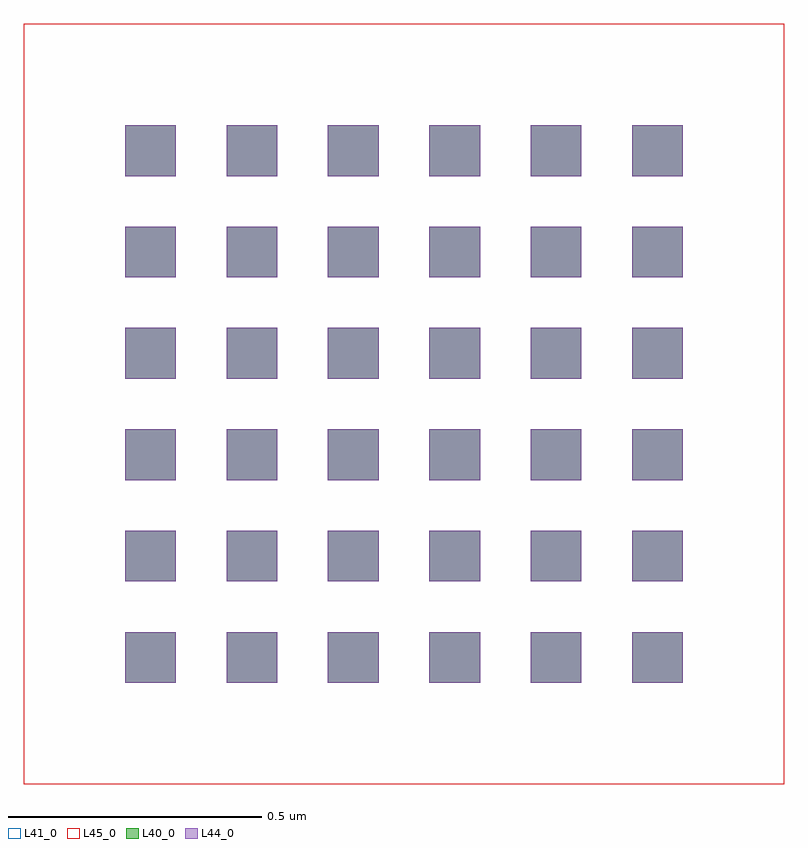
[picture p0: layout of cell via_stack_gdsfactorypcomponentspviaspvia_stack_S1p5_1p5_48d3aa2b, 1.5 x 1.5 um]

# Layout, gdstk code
import gdstk
lib = gdstk.Library(unit=1e-6, precision=1e-09)
def R(c, l, rs):  # rectangles x0, y0, x1, y1
    for r in rs: c.add(gdstk.rectangle(r[:2], r[2:], *l))
L40_0 = (40, 0)
L41_0 = (41, 0)
L44_0 = (44, 0)
L45_0 = (45, 0)

compass_gdsfactorypcompo = lib.new_cell('compass_gdsfactorypcomponentspshapespcompass_S1p5_1p5_L_13dabab2')
R(compass_gdsfactorypcompo, L41_0, [(-0.75,-0.75,0.75,0.75)])

c_compass_gdsfactorypcompo = lib.new_cell('compass_gdsfactorypcomponentspshapespcompass_S1p5_1p5_L_d235db8a')
R(c_compass_gdsfactorypcompo, L45_0, [(-0.75,-0.75,0.75,0.75)])

via_gdsfactorypcomponent = lib.new_cell('via_gdsfactorypcomponentspviaspvia_S0p1_0p1_E0p1_LVIAC__38b3c27c')
R(via_gdsfactorypcomponent, L40_0, [(-0.05,-0.05,0.05,0.05)])

c_via_gdsfactorypcomponent = lib.new_cell('via_gdsfactorypcomponentspviaspvia_S0p1_0p1_E0p1_LVIA1__33ecaa95')
R(c_via_gdsfactorypcomponent, L44_0, [(-0.05,-0.05,0.05,0.05)])

via_stack_gdsfactorypcom = lib.new_cell('via_stack_gdsfactorypcomponentspviaspvia_stack_S1p5_1p5_48d3aa2b')
via_stack_gdsfactorypcom.add(gdstk.Reference(compass_gdsfactorypcompo, (0,0)))
via_stack_gdsfactorypcom.add(gdstk.Reference(c_compass_gdsfactorypcompo, (0,0)))
r = gdstk.Reference(via_gdsfactorypcomponent, (-0.5,-0.5)); r.repetition = gdstk.Repetition(6, 6, v1=(0.2,0), v2=(0,0.2)); via_stack_gdsfactorypcom.add(r)
r = gdstk.Reference(c_via_gdsfactorypcomponent, (-0.5,-0.5)); r.repetition = gdstk.Repetition(6, 6, v1=(0.2,0), v2=(0,0.2)); via_stack_gdsfactorypcom.add(r)

lib.write_gds('via_stack_gdsfactorypcomponentspviaspvia_stack_S1p5_1p5_48d3aa2b.gds')
